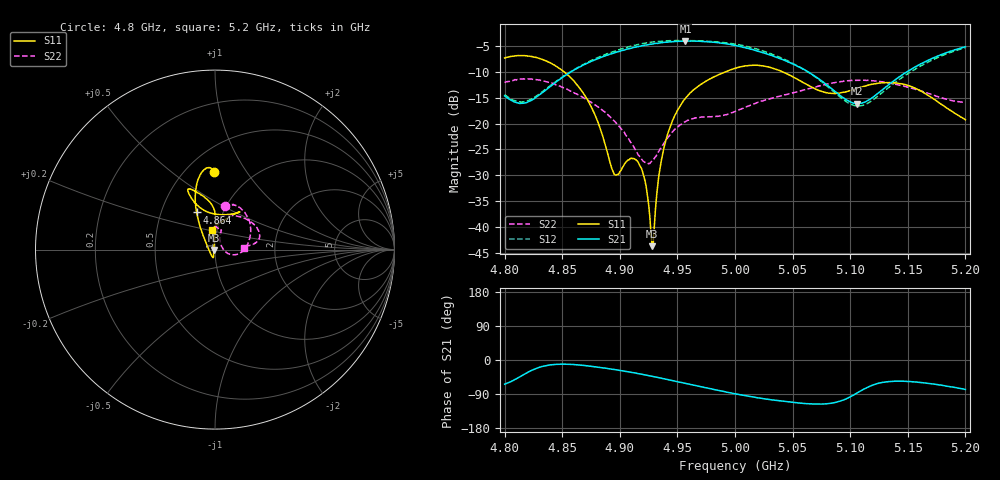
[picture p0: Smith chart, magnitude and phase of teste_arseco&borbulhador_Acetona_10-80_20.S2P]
! Network Analyzer HP8722D
! Hewlett-Packard
! Data name: Linha & Wilkinson
! Saver's name: Rodrigo Anjos
! Comments: Teste da utilização de aquisição
! continua pelo VNA HP8722D
! Time and date: 25/4/2025 15:26
!  Frequency  S11  S21  S12  S22
# HZ  S  MA R 50
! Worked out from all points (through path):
!   401 points, 4.8 GHz to 5.2 GHz, reference 50 ohm
!   highest |S21| = -3.94 dB at 4.957 GHz (marker M1); lowest = -16.1 dB at 5.106 GHz (marker M2)
!   lowest |S11| = -43.8 dB at 4.928 GHz (marker M3), VSWR 1.01, Z = 49.4 - j0.191 ohm
!   |S11| at or under -10 dB: 4.852 GHz to 4.991 GHz (138.9 MHz wide, 2.82 % of centre); 5.042 GHz to end of sweep
!   |S22| runs from -27.8 to -11.3 dB; largest |S21 - S12| = 1.2
!   S11 on the Smith chart (normalised r, x): 4.8 GHz: 0.68, +0.73; 4.864 GHz: 0.75, +0.33; 5.2 GHz: 0.94, +0.20
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4.8e9  0.4337 90.5  0.1864 -64.0  0.1911 69.6  0.2504 77.1
4.82e9  0.4521 96.7  0.1623 -32.5  0.1674 98.4  0.2717 61.6
4.843e9  0.3714 106.0  0.246 -12.1  0.2492 118.8  0.2435 36.6
4.864e9  0.231 116.4  0.3507 -13.1  0.3531 120.9  0.19 12.0
4.867e9  0.2077 118.1  0.3643 -13.9  0.3688 120.6  0.1826 8.5
4.88e9  0.1106 128.4  0.4236 -18.5  0.4334 118.1  0.1482 -5.4
4.895e9  0.03251 -172.2  0.4865 -25.0  0.5024 113.6  0.1065 -16.0
4.909e9  0.04583 -106.2  0.5362 -32.1  0.562 107.6  0.06712 -14.7
4.917e9  0.03996 -102.1  0.563 -36.5  0.5904 103.5  0.04843 -1.7
4.922e9  0.02754 -105.2  0.578 -39.3  0.6035 100.7  0.04205 15.9
4.928e9  0.006492 -162.7  0.5926 -43.0  0.6198 97.0  0.04352 40.4
4.93e9  0.01032 126.6  0.5993 -44.3  0.6208 95.8  0.04628 48.7
4.934e9  0.03196 98.9  0.6055 -46.9  0.6298 93.2  0.05424 58.6
4.943e9  0.08863 90.4  0.6211 -52.5  0.6394 87.4  0.07639 69.3
4.957e9  0.1767 89.0  0.635 -61.6  0.6407 78.5  0.1049 71.7
5e9  0.3449 109.0  0.5742 -89.2  0.5927 50.7  0.1312 88.5
5.03e9  0.3529 115.0  0.4658 -104.3  0.4819 33.8  0.1737 85.5
5.067e9  0.2251 104.9  0.301 -116.0  0.2988 23.5  0.2229 57.1
5.106e9  0.2197 64.2  0.1564 -87.2  0.1484 55.8  0.2637 24.8
5.134e9  0.2507 56.8  0.2412 -56.9  0.2271 88.6  0.248 12.4
5.169e9  0.1845 69.4  0.4187 -62.2  0.4023 84.8  0.1947 6.8
5.2e9  0.1093 100.1  0.5567 -77.8  0.5453 70.1  0.1608 3.8
